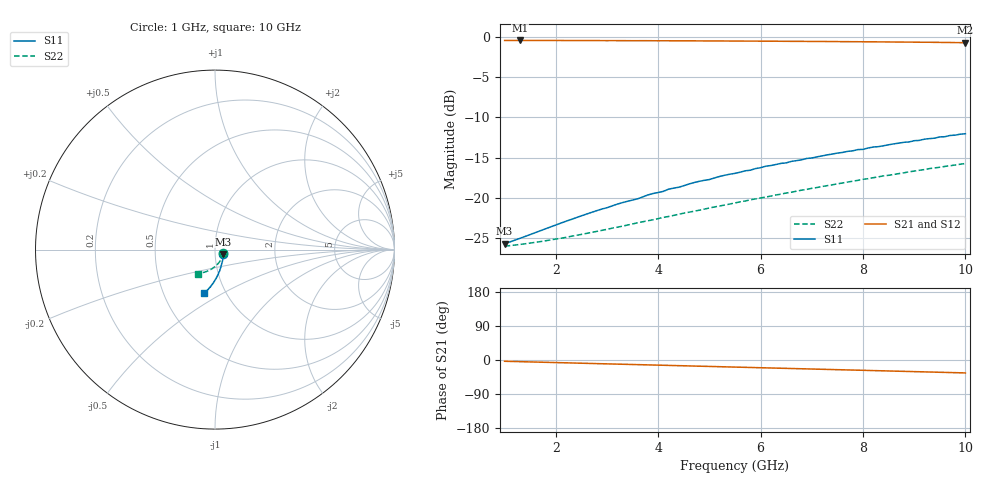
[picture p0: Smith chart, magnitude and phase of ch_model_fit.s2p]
! .MODEL  SMODEL ch_model S  TSTONEFILE=.\ch_model_fit.s2p  TYPE=SFMAX=  3e+11
! The above .MODEL line can be used for the S element in the netlist.
# Hz S RI R  50
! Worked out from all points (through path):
!   91 points, 1 GHz to 10 GHz, reference 50 ohm
!   highest |S21| = -0.43 dB at 1.3 GHz (marker M1); lowest = -0.7 dB at 10 GHz (marker M2)
!   group delay of S21, straight-line fit = 9.48 ps
!   lowest |S11| = -25.7 dB at 1 GHz (marker M3), VSWR 1.11, Z = 54.7 - j2.69 ohm
!   |S11| at or under -10 dB: start of sweep to end of sweep
!   |S22| runs from -26.0 to -15.7 dB; largest |S21 - S12| = 0
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1e9  0.0456 -0.0245  0.9501 -0.0555  0.9501 -0.0555  0.0464 -0.0187
1.3e9  0.0455 -0.0326  0.949 -0.0725  0.949 -0.0725  0.0453 -0.0241
1.9e9  0.044 -0.0491  0.9455 -0.1065  0.9455 -0.1065  0.0422 -0.0349
2.5e9  0.0411 -0.0654  0.9404 -0.1403  0.9404 -0.1403  0.0381 -0.0454
3.2e9  0.0366 -0.0837  0.9324 -0.1791  0.9324 -0.1791  0.032 -0.0573
3.6e9  0.0335 -0.0928  0.9271 -0.2004  0.9271 -0.2004  0.028 -0.0641
3.8e9  0.0326 -0.099  0.9246 -0.2119  0.9246 -0.2119  0.0255 -0.0673
4e9  0.0299 -0.1036  0.921 -0.2225  0.921 -0.2225  0.0233 -0.0705
4.1e9  0.0299 -0.1055  0.9199 -0.2275  0.9199 -0.2275  0.0221 -0.0722
4.2e9  0.0293 -0.1092  0.9184 -0.2336  0.9184 -0.2336  0.0207 -0.0737
4.4e9  0.0268 -0.1131  0.9148 -0.2437  0.9148 -0.2437  0.0183 -0.0769
4.7e9  0.0246 -0.1219  0.9099 -0.2605  0.9099 -0.2605  0.014 -0.0813
5.5e9  0.0151 -0.1411  0.8938 -0.3023  0.8938 -0.3023  0.002 -0.0929
6.1e9  0.00838 -0.157  0.8809 -0.3339  0.8809 -0.3339  -0.00844 -0.1007
6.5e9  0.00311 -0.1649  0.8715 -0.3535  0.8715 -0.3535  -0.0156 -0.106
6.9e9  -0.00305 -0.1757  0.8611 -0.3742  0.8611 -0.3742  -0.0234 -0.1103
7e9  -0.00417 -0.1768  0.8587 -0.3785  0.8587 -0.3785  -0.0253 -0.1117
7.5e9  -0.0117 -0.1894  0.8452 -0.4035  0.8452 -0.4035  -0.0358 -0.1168
8e9  -0.0199 -0.1991  0.8308 -0.4267  0.8308 -0.4267  -0.0466 -0.1217
8.5e9  -0.0299 -0.2117  0.8149 -0.4508  0.8149 -0.4508  -0.0578 -0.1254
9.3e9  -0.0437 -0.2293  0.7894 -0.4873  0.7894 -0.4873  -0.0776 -0.1307
1e10  -0.0621 -0.2423  0.7632 -0.5167  0.7632 -0.5167  -0.0944 -0.1335
